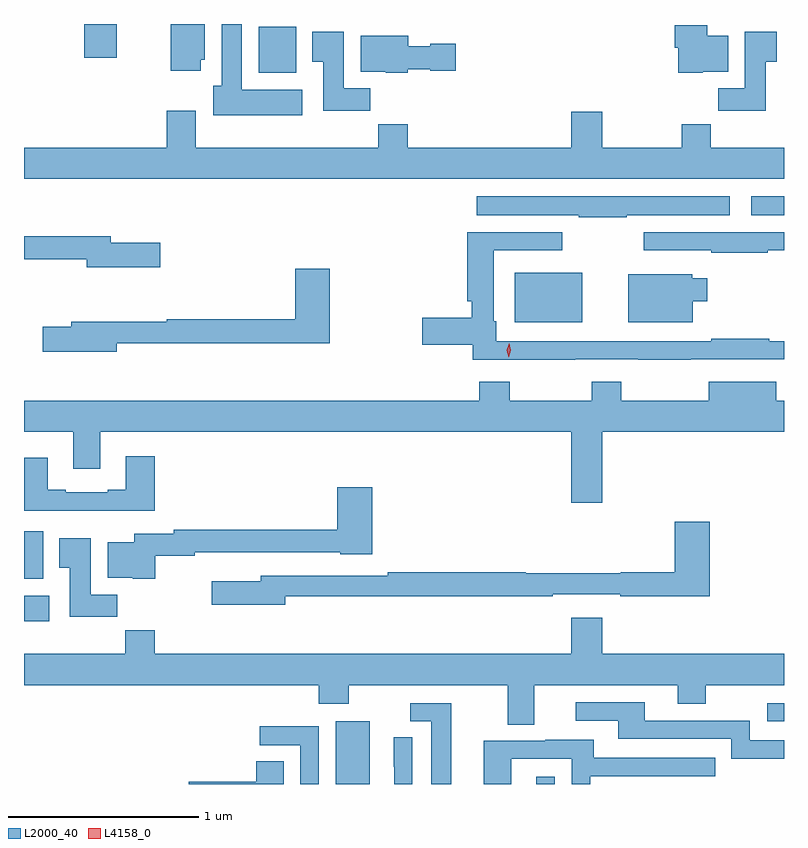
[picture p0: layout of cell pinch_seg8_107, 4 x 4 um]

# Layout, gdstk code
import gdstk
lib = gdstk.Library(unit=1e-6, precision=1e-09)
def R(c, l, rs):  # rectangles x0, y0, x1, y1
    for r in rs: c.add(gdstk.rectangle(r[:2], r[2:], *l))
def P(c, l, *ps):  # polygons
    for p in ps: c.add(gdstk.Polygon(p, *l))
L2000_40 = (2000, 40)
L4158_0 = (4158, 0)

pinch_seg8_107 = lib.new_cell('pinch_seg8_107')
R(pinch_seg8_107, L2000_40, [(1086.845,1093.335,1087.024,1093.666), (1087.901,1093.335,1087.998,1093.372), (1089.117,1093.665,1089.205,1093.761), (1085.205,1094.192,1085.338,1094.326), (1085.205,1094.414,1085.305,1094.664), (1087.787,1095.764,1088.143,1096.027), (1089.033,1096.328,1089.205,1096.429), (1086.44,1097.078,1086.637,1097.32), (1085.522,1097.157,1085.692,1097.335)])
P(pinch_seg8_107, L2000_40, [(1086.136,1097.148),(1086.157,1097.148),(1086.157,1097.335),(1085.978,1097.335),(1085.978,1097.088),(1086.136,1097.088)],
  [(1086.67,1096.99),(1086.352,1096.99),(1086.352,1097.335),(1086.245,1097.335),(1086.245,1097.01),(1086.2,1097.01),(1086.2,1096.856),(1086.67,1096.856)],
  [(1088.778,1097.084),(1088.911,1097.084),(1088.911,1097.272),(1088.8,1097.272),(1088.8,1097.329),(1088.63,1097.329),(1088.63,1097.211),(1088.648,1097.211),(1088.648,1097.078),(1088.778,1097.078)],
  [(1089.109,1097.137),(1089.166,1097.137),(1089.166,1097.293),(1088.999,1097.293),(1088.999,1096.996),(1088.86,1096.996),(1088.86,1096.878),(1089.109,1096.878)],
  [(1087.028,1096.996),(1086.889,1096.996),(1086.889,1097.293),(1086.722,1097.293),(1086.722,1097.137),(1086.779,1097.137),(1086.779,1096.878),(1087.028,1096.878)],
  [(1087.224,1097.096),(1087.344,1097.096),(1087.344,1097.089),(1087.477,1097.089),(1087.477,1097.231),(1087.344,1097.231),(1087.344,1097.218),(1087.228,1097.218),(1087.228,1097.272),(1086.977,1097.272),(1086.977,1097.084),(1087.11,1097.084),(1087.11,1097.078),(1087.224,1097.078)],
  [(1089.205,1096.684),(1088.819,1096.684),(1088.819,1096.808),(1088.668,1096.808),(1088.668,1096.684),(1088.248,1096.684),(1088.248,1096.873),(1088.084,1096.873),(1088.084,1096.684),(1087.226,1096.684),(1087.226,1096.808),(1087.069,1096.808),(1087.069,1096.684),(1086.109,1096.684),(1086.109,1096.879),(1085.957,1096.879),(1085.957,1096.684),(1085.205,1096.684),(1085.205,1096.52),(1089.205,1096.52)],
  [(1088.378,1096.328),(1088.92,1096.328),(1088.92,1096.429),(1087.587,1096.429),(1087.587,1096.328),(1088.125,1096.328),(1088.125,1096.318),(1088.378,1096.318)],
  [(1089.119,1096.143),(1089.205,1096.143),(1089.205,1096.239),(1088.466,1096.239),(1088.466,1096.143),(1088.821,1096.143),(1088.821,1096.131),(1089.119,1096.131)],
  [(1088.105,1095.57),(1088.437,1095.57),(1088.437,1095.569),(1088.714,1095.569),(1088.714,1095.57),(1089.205,1095.57),(1089.205,1095.666),(1089.128,1095.666),(1089.128,1095.679),(1088.821,1095.679),(1088.821,1095.666),(1087.69,1095.666),(1087.69,1095.771),(1087.677,1095.771),(1087.677,1096.143),(1088.038,1096.143),(1088.038,1096.239),(1087.538,1096.239),(1087.538,1095.875),(1087.561,1095.875),(1087.561,1095.788),(1087.302,1095.788),(1087.302,1095.646),(1087.568,1095.646),(1087.568,1095.569),(1088.105,1095.569)],
  [(1085.923,1096.185),(1085.662,1096.185),(1085.662,1096.219),(1085.205,1096.219),(1085.205,1096.098),(1085.534,1096.098),(1085.534,1096.055),(1085.923,1096.055)],
  [(1085.692,1095.654),(1086.815,1095.654),(1086.815,1096.048),(1086.632,1096.048),(1086.632,1095.782),(1085.957,1095.782),(1085.957,1095.767),(1085.453,1095.767),(1085.453,1095.741),(1085.304,1095.741),(1085.304,1095.611),(1085.692,1095.611)],
  [(1088.725,1095.875),(1088.8,1095.875),(1088.8,1095.997),(1088.721,1095.997),(1088.721,1096.018),(1088.384,1096.018),(1088.384,1095.764),(1088.725,1095.764)],
  [(1088.248,1095.188),(1089.205,1095.188),(1089.205,1095.352),(1089.163,1095.352),(1089.163,1095.451),(1088.81,1095.451),(1088.81,1095.352),(1088.349,1095.352),(1088.349,1095.451),(1088.194,1095.451),(1088.194,1095.352),(1087.761,1095.352),(1087.761,1095.451),(1087.601,1095.451),(1087.601,1095.352),(1085.205,1095.352),(1085.205,1095.188),(1085.465,1095.188),(1085.465,1094.994),(1085.605,1094.994),(1085.605,1095.188),(1088.084,1095.188),(1088.084,1094.814),(1088.248,1094.814)],
  [(1085.894,1095.061),(1085.741,1095.061),(1085.741,1094.884),(1085.645,1094.884),(1085.645,1094.871),(1085.425,1094.871),(1085.425,1094.884),(1085.329,1094.884),(1085.329,1095.052),(1085.205,1095.052),(1085.205,1094.774),(1085.894,1094.774)],
  [(1085.896,1094.536),(1086.104,1094.536),(1086.104,1094.555),(1086.356,1094.555),(1086.356,1094.556),(1086.87,1094.556),(1086.87,1094.543),(1087.037,1094.543),(1087.037,1094.896),(1086.854,1094.896),(1086.854,1094.672),(1085.992,1094.672),(1085.992,1094.652),(1085.786,1094.652),(1085.786,1094.608),(1085.645,1094.608),(1085.645,1094.42),(1085.778,1094.42),(1085.778,1094.414),(1085.896,1094.414)],
  [(1086.58,1094.322),(1087.988,1094.322),(1087.988,1094.334),(1088.344,1094.334),(1088.344,1094.322),(1088.813,1094.322),(1088.813,1094.716),(1088.63,1094.716),(1088.63,1094.45),(1088.346,1094.45),(1088.346,1094.443),(1087.846,1094.443),(1087.846,1094.45),(1087.12,1094.45),(1087.12,1094.43),(1086.452,1094.43),(1086.452,1094.401),(1086.192,1094.401),(1086.192,1094.279),(1086.58,1094.279)],
  [(1085.696,1094.332),(1085.557,1094.332),(1085.557,1094.629),(1085.39,1094.629),(1085.39,1094.473),(1085.447,1094.473),(1085.447,1094.214),(1085.696,1094.214)],
  [(1087.891,1093.856),(1088.645,1093.856),(1088.645,1093.757),(1088.793,1093.757),(1088.793,1093.856),(1089.205,1093.856),(1089.205,1094.02),(1088.248,1094.02),(1088.248,1094.209),(1088.084,1094.209),(1088.084,1094.02),(1085.894,1094.02),(1085.894,1094.144),(1085.737,1094.144),(1085.737,1094.02),(1085.205,1094.02),(1085.205,1093.856),(1086.755,1093.856),(1086.755,1093.757),(1086.915,1093.757),(1086.915,1093.856),(1087.751,1093.856),(1087.751,1093.648),(1087.891,1093.648)],
  [(1089.205,1093.566),(1089.024,1093.566),(1089.024,1093.668),(1088.473,1093.668),(1088.473,1093.764),(1088.109,1093.764),(1088.109,1093.668),(1088.333,1093.668),(1088.333,1093.572),(1088.928,1093.572),(1088.928,1093.469),(1089.205,1093.469)],
  [(1087.453,1093.761),(1087.239,1093.761),(1087.239,1093.665),(1087.349,1093.665),(1087.349,1093.335),(1087.453,1093.335)],
  [(1086.756,1093.638),(1086.447,1093.638),(1086.447,1093.539),(1086.66,1093.539),(1086.66,1093.335),(1086.756,1093.335)],
  [(1087.248,1093.58),(1087.152,1093.58),(1087.152,1093.426),(1087.154,1093.426),(1087.154,1093.335),(1087.248,1093.335)],
  [(1087.77,1093.467),(1088.088,1093.467),(1088.088,1093.335),(1088.184,1093.335),(1088.184,1093.377),(1088.843,1093.377),(1088.843,1093.473),(1088.203,1093.473),(1088.203,1093.567),(1087.949,1093.567),(1087.949,1093.563),(1087.625,1093.563),(1087.625,1093.335),(1087.77,1093.335)],
  [(1086.571,1093.454),(1086.428,1093.454),(1086.428,1093.346),(1086.072,1093.346),(1086.072,1093.335),(1086.571,1093.335)])
P(pinch_seg8_107, L4158_0, [(1087.757,1095.581),(1087.756,1095.582),(1087.747,1095.618),(1087.758,1095.654),(1087.758,1095.654),(1087.758,1095.654),(1087.767,1095.618),(1087.757,1095.582)])

lib.write_gds('pinch_seg8_107.gds')
